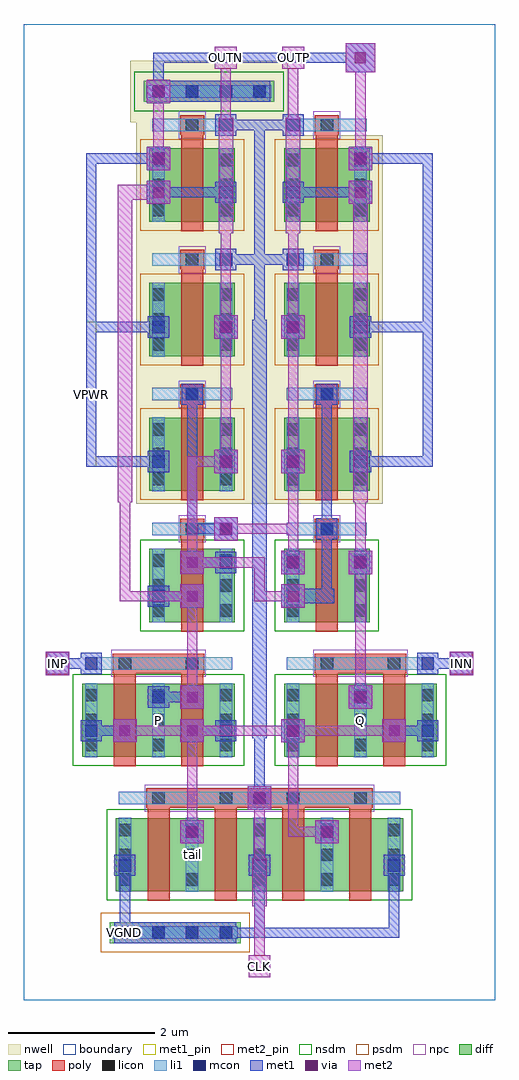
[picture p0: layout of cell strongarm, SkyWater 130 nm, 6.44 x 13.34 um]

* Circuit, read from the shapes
.subckt strongarm CLK INN INP OUTN OUTP P Q VGND VPWR tail
XM1 P INP tail VGND sky130_fd_pr__nfet_01v8 w=1 l=0.3 m=2
XM2 tail CLK VGND VGND sky130_fd_pr__nfet_01v8 w=1 l=0.3 m=4
XM3 OUTN OUTP P VGND sky130_fd_pr__nfet_01v8 w=1 l=0.3
XM4 Q INN tail VGND sky130_fd_pr__nfet_01v8 w=1 l=0.3 m=2
XM5 Q OUTN OUTP VGND sky130_fd_pr__nfet_01v8 w=1 l=0.3
XM6 OUTN OUTP VPWR VPWR sky130_fd_pr__pfet_01v8 w=1 l=0.3
XM7 OUTN CLK VPWR VPWR sky130_fd_pr__pfet_01v8 w=1 l=0.3
XM8 P CLK VPWR VPWR sky130_fd_pr__pfet_01v8 w=1 l=0.3
XM9 VPWR OUTN OUTP VPWR sky130_fd_pr__pfet_01v8 w=1 l=0.3
XM10 VPWR CLK OUTP VPWR sky130_fd_pr__pfet_01v8 w=1 l=0.3
XM11 VPWR CLK Q VPWR sky130_fd_pr__pfet_01v8 w=1 l=0.3
.ends

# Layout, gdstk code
import gdstk
lib = gdstk.Library(unit=1e-6, precision=1e-09)
def R(c, l, rs):  # rectangles x0, y0, x1, y1
    for r in rs: c.add(gdstk.rectangle(r[:2], r[2:], *l))
def A(c, l, x, y, w, h, nx, ny, dx, dy):  # array of equal rectangles
    R(c, l, [(x+i*dx, y+j*dy, x+i*dx+w, y+j*dy+h) for i in range(nx) for j in range(ny)])
nwell = (64, 20)
diff = (65, 20)
tap = (65, 44)
poly = (66, 20)
licon = (66, 44)
li1 = (67, 20)
mcon = (67, 44)
met1_pin = (68, 16)
met1 = (68, 20)
via = (68, 44)
met2_pin = (69, 16)
met2 = (69, 20)
nsdm = (93, 44)
psdm = (94, 20)
npc = (95, 20)
boundary = (235, 4)

strongarm = lib.new_cell('strongarm')
R(strongarm, nwell, [(1.535,6.78,4.905,11.82), (1.535,11.82,3.605,12), (1.455,12,3.605,12.84)])
A(strongarm, diff, 1.715, 6.96, 1.17, 1, 1, 3, 0, 1.84)
A(strongarm, diff, 3.555, 6.96, 1.17, 1, 1, 3, 0, 1.84)
R(strongarm, diff, [(1.255,1.485,5.185,2.485), (0.795,3.325,2.885,4.325), (3.555,3.325,5.645,4.325), (1.715,5.165,2.885,6.165), (3.555,5.165,4.725,6.165)])
R(strongarm, tap, [(1.175,0.775,2.965,1.065), (1.635,12.275,3.425,12.565)])
A(strongarm, poly, 1.69, 1.355, 0.3, 1.405, 4, 1, 0.92, 0)
A(strongarm, poly, 2.135, 6.305, 0.33, 0.27, 1, 4, 0, 1.84)
A(strongarm, poly, 3.975, 6.305, 0.33, 0.27, 1, 4, 0, 1.84)
A(strongarm, poly, 2.15, 6.83, 0.3, 1.45, 1, 3, 0, 1.84)
A(strongarm, poly, 3.99, 6.83, 0.3, 1.45, 1, 3, 0, 1.84)
R(strongarm, poly, [(1.675,2.625,4.765,2.895), (1.23,3.195,1.53,4.6), (2.15,3.195,2.45,4.6), (3.99,3.195,4.29,4.6), (4.91,3.195,5.21,4.6), (1.215,4.465,2.465,4.735), (3.975,4.465,5.225,4.735), (2.15,5.035,2.45,6.44), (3.99,5.035,4.29,6.44)])
A(strongarm, licon, 1.295, 0.835, 0.17, 0.17, 4, 1, 0.46, 0)
A(strongarm, licon, 1.295, 1.56, 0.17, 0.17, 5, 3, 0.92, 0.34)
A(strongarm, licon, 1.755, 2.675, 0.17, 0.17, 4, 2, 0.92, 2.565)
A(strongarm, licon, 0.835, 3.4, 0.17, 0.17, 6, 3, 0.92, 0.34)
A(strongarm, licon, 2.215, 4.515, 0.17, 0.17, 1, 5, 0, 1.84)
A(strongarm, licon, 4.055, 4.515, 0.17, 0.17, 1, 5, 0, 1.84)
A(strongarm, licon, 1.755, 5.58, 0.17, 0.17, 4, 2, 0.92, 0.34)
A(strongarm, licon, 1.755, 7.035, 0.17, 0.17, 4, 3, 0.92, 0.34)
A(strongarm, licon, 1.755, 8.875, 0.17, 0.17, 4, 3, 0.92, 0.34)
A(strongarm, licon, 1.755, 10.715, 0.17, 0.17, 4, 3, 0.92, 0.34)
A(strongarm, licon, 1.755, 12.335, 0.17, 0.17, 4, 1, 0.46, 0)
R(strongarm, licon, [(1.295,4.515,1.465,4.685), (4.975,4.515,5.145,4.685)])
A(strongarm, li1, 1.295, 1.48, 0.17, 1.01, 5, 1, 0.92, 0)
A(strongarm, li1, 0.835, 3.32, 0.17, 1.01, 6, 1, 0.92, 0)
A(strongarm, li1, 1.755, 5.16, 0.17, 1.01, 4, 2, 0.92, 1.795)
A(strongarm, li1, 1.755, 6.355, 1.09, 0.17, 1, 4, 0, 1.84)
A(strongarm, li1, 3.595, 6.355, 1.09, 0.17, 1, 4, 0, 1.84)
A(strongarm, li1, 1.755, 8.795, 0.17, 1.01, 4, 2, 0.92, 1.84)
R(strongarm, li1, [(1.215,0.835,2.925,1.005), (1.295,2.675,5.145,2.845), (0.835,4.515,2.845,4.685), (3.595,4.515,5.605,4.685), (1.675,12.335,3.385,12.505)])
A(strongarm, mcon, 1.295, 0.835, 0.17, 0.17, 4, 1, 0.46, 0)
A(strongarm, mcon, 1.295, 1.755, 0.17, 0.17, 3, 1, 1.84, 0)
A(strongarm, mcon, 2.675, 5.895, 0.17, 0.17, 3, 1, 0.92, 0)
A(strongarm, mcon, 1.755, 7.275, 0.17, 0.17, 4, 2, 0.92, 1.84)
A(strongarm, mcon, 2.675, 10.035, 0.17, 0.17, 1, 3, 0, 0.92)
A(strongarm, mcon, 3.595, 10.035, 0.17, 0.17, 1, 3, 0, 0.92)
A(strongarm, mcon, 1.755, 12.335, 0.17, 0.17, 4, 1, 0.46, 0)
R(strongarm, mcon, [(2.215,2.215,2.385,2.385), (4.055,2.215,4.225,2.385), (3.135,2.675,3.305,2.845), (0.835,3.595,1.005,3.765), (2.675,3.595,2.845,3.765), (3.595,3.595,3.765,3.765), (5.435,3.595,5.605,3.765), (1.755,4.055,1.925,4.225), (4.515,4.055,4.685,4.225), (0.835,4.515,1.005,4.685), (5.435,4.515,5.605,4.685), (1.755,5.435,1.925,5.605), (2.675,6.355,2.845,6.525), (4.055,6.355,4.225,6.525), (2.215,8.195,2.385,8.365), (4.055,8.195,4.225,8.365), (1.755,11.415,1.925,11.585), (4.515,11.415,4.685,11.585)])
R(strongarm, met1_pin, [(1.31,0.85,1.45,0.99), (0.85,7.29,0.99,9.27)])
A(strongarm, met1, 1.31, 0.85, 0.14, 1.06, 3, 1, 1.84, 0)
A(strongarm, met1, 1.235, 1.695, 0.29, 0.29, 3, 1, 1.84, 0)
A(strongarm, met1, 2.14, 3.52, 0.32, 0.32, 3, 1, 1.38, 0)
A(strongarm, met1, 2.615, 5.835, 0.29, 0.29, 3, 1, 0.92, 0)
A(strongarm, met1, 1.695, 7.215, 0.29, 0.29, 4, 2, 0.92, 1.84)
A(strongarm, met1, 2.615, 9.975, 0.29, 0.29, 1, 3, 0, 0.92)
A(strongarm, met1, 3.535, 9.975, 0.29, 0.29, 1, 3, 0, 0.92)
R(strongarm, met1, [(1.235,0.775,2.905,1.065), (1.31,0.85,3.29,0.99), (1.31,0.85,1.45,0.99), (3.15,0.85,5.13,0.99), (2.14,2.14,2.46,2.46), (3.98,2.14,4.3,2.46), (2.155,2.155,2.445,2.445), (3.995,2.155,4.285,2.445), (3.06,2.6,3.38,2.92), (3.075,2.615,3.365,2.905), (3.15,2.69,3.29,3.75), (1.22,3.52,1.54,3.84), (0.775,3.535,1.065,3.825), (2.615,3.535,2.905,3.825), (3.535,3.535,3.825,3.825), (5.375,3.535,5.665,3.825), (3.12,3.58,3.32,9.3), (0.85,3.61,1.45,3.75), (2.23,3.61,2.83,3.75), (4.99,3.61,5.59,3.75), (2.14,3.98,2.46,4.3), (4.44,3.98,4.76,4.3), (1.695,3.995,1.985,4.285), (4.455,3.995,4.745,4.285), (1.77,4.07,2.37,4.21), (0.3,4.44,0.62,4.76), (5.82,4.44,6.14,4.76), (0.775,4.455,1.065,4.745), (5.375,4.455,5.665,4.745), (0.39,4.53,0.99,4.67), (5.45,4.53,6.05,4.67), (2.14,5.36,2.46,5.68), (3.52,5.36,3.84,5.68), (1.695,5.375,1.985,5.665), (3.58,5.42,4.24,5.62), (1.77,5.45,2.37,5.59), (4.07,5.45,4.21,6.51), (2.14,5.82,2.46,6.14), (3.52,5.82,3.84,6.14), (4.44,5.82,4.76,6.14), (2.23,5.91,2.83,6.05), (2.6,6.28,2.92,6.6), (2.615,6.295,2.905,6.585), (3.995,6.295,4.285,6.585), (2.23,6.37,2.37,8.35), (2.23,6.37,2.83,6.51), (4.07,6.37,4.21,8.35), (2.6,7.2,2.92,7.52), (3.52,7.2,3.84,7.52), (0.85,7.29,1.91,7.43), (0.85,7.29,0.99,9.27), (4.53,7.29,5.59,7.43), (5.45,7.29,5.59,9.27), (2.155,8.135,2.445,8.425), (3.995,8.135,4.285,8.425), (2.6,9.04,2.92,9.36), (3.52,9.04,3.84,9.36), (0.85,9.13,1.91,9.27), (0.85,9.13,0.99,11.57), (3.15,9.13,3.29,10.19), (4.53,9.13,5.59,9.27), (5.45,9.13,5.59,11.57), (2.69,10.05,3.75,10.19), (3.15,10.05,3.29,12.03), (1.68,10.88,2,11.2), (4.44,10.88,4.76,11.2), (1.77,10.97,2.83,11.11), (3.61,10.97,4.67,11.11), (1.68,11.34,2,11.66), (4.44,11.34,4.76,11.66), (1.695,11.355,1.985,11.645), (4.455,11.355,4.745,11.645), (0.85,11.43,1.91,11.57), (4.53,11.43,5.59,11.57), (2.69,11.89,3.29,12.03), (3.15,11.89,3.75,12.03), (1.68,12.26,2,12.58), (1.695,12.275,3.365,12.565), (1.77,12.35,1.91,12.95), (1.77,12.35,1.91,12.49), (4.4,12.68,4.8,13.08), (1.77,12.81,4.67,12.95)])
A(strongarm, via, 2.225, 3.605, 0.15, 0.15, 3, 1, 1.38, 0)
R(strongarm, via, [(2.225,2.225,2.375,2.375), (4.065,2.225,4.215,2.375), (3.145,2.685,3.295,2.835), (1.305,3.605,1.455,3.755), (2.225,4.065,2.375,4.215), (4.525,4.065,4.675,4.215), (0.385,4.525,0.535,4.675), (5.905,4.525,6.055,4.675), (2.225,5.445,2.375,5.595), (3.605,5.445,3.755,5.595), (2.225,5.905,2.375,6.055), (3.605,5.905,3.755,6.055), (4.525,5.905,4.675,6.055), (2.685,6.365,2.835,6.515), (2.685,7.285,2.835,7.435), (3.605,7.285,3.755,7.435), (2.685,9.125,2.835,9.275), (3.605,9.125,3.755,9.275), (1.765,10.965,1.915,11.115), (4.525,10.965,4.675,11.115), (1.765,11.425,1.915,11.575), (4.525,11.425,4.675,11.575), (1.765,12.345,1.915,12.495), (4.525,12.805,4.675,12.955)])
R(strongarm, met2_pin, [(3.07,0.31,3.37,0.61), (0.31,4.45,0.61,4.75), (5.83,4.45,6.13,4.75), (2.61,12.73,2.91,13.03), (3.53,12.73,3.83,13.03)])
A(strongarm, met2, 2.23, 2.23, 0.14, 1.52, 1, 3, 0, 1.84)
A(strongarm, met2, 2.14, 3.52, 0.32, 0.32, 3, 1, 1.38, 0)
R(strongarm, met2, [(3.07,0.31,3.37,0.61), (3.15,0.39,3.29,0.53), (3.15,0.39,3.29,1.45), (3.12,1.28,3.32,1.94), (3.15,1.77,3.29,2.83), (2.14,2.14,2.46,2.46), (3.98,2.14,4.3,2.46), (3.61,2.23,3.75,3.75), (3.61,2.23,4.21,2.37), (3.06,2.6,3.38,2.92), (1.22,3.52,1.54,3.84), (1.31,3.61,2.37,3.75), (2.23,3.61,3.75,3.75), (3.61,3.61,5.13,3.75), (2.14,3.98,2.46,4.3), (4.44,3.98,4.76,4.3), (4.53,4.07,4.67,6.05), (0.3,4.44,0.62,4.76), (5.82,4.44,6.14,4.76), (0.31,4.45,0.61,4.75), (5.83,4.45,6.13,4.75), (0.39,4.53,0.53,4.67), (5.91,4.53,6.05,4.67), (2.14,5.36,2.46,5.68), (3.52,5.36,3.84,5.68), (1.31,5.45,1.45,6.97), (1.31,5.45,2.37,5.59), (3.15,5.45,3.75,5.59), (3.15,5.45,3.29,6.05), (2.14,5.82,2.46,6.14), (3.52,5.82,3.84,6.14), (4.44,5.82,4.76,6.14), (2.23,5.91,3.29,6.05), (3.61,5.91,3.75,7.43), (4.53,5.91,4.67,6.97), (2.6,6.28,2.92,6.6), (2.69,6.37,3.75,6.51), (1.28,6.8,1.48,11.14), (4.5,6.8,4.7,11.14), (2.6,7.2,2.92,7.52), (3.52,7.2,3.84,7.52), (2.23,7.29,2.83,7.43), (2.69,7.29,2.83,9.27), (3.61,7.29,3.75,9.27), (2.6,9.04,2.92,9.36), (3.52,9.04,3.84,9.36), (2.69,9.13,2.83,10.65), (3.61,9.13,3.75,10.65), (2.66,10.48,2.86,12.06), (3.58,10.48,3.78,12.06), (1.68,10.88,2,11.2), (4.44,10.88,4.76,11.2), (1.28,10.94,1.94,11.14), (1.68,11.34,2,11.66), (4.44,11.34,4.76,11.66), (1.77,11.43,1.91,12.49), (4.53,11.43,4.67,12.95), (2.69,11.89,2.83,12.95), (3.61,11.89,3.75,12.95), (1.68,12.26,2,12.58), (4.4,12.68,4.8,13.08), (2.61,12.73,2.91,13.03), (3.53,12.73,3.83,13.03), (2.69,12.81,2.83,12.95), (3.61,12.81,3.75,12.95)])
R(strongarm, nsdm, [(1.13,1.36,5.31,2.61), (0.67,3.2,3.01,4.45), (3.43,3.2,5.77,4.45), (1.59,5.04,3.01,6.29), (3.43,5.04,4.85,6.29), (1.51,12.15,3.55,12.69)])
A(strongarm, psdm, 1.59, 6.835, 1.42, 1.25, 1, 3, 0, 1.84)
A(strongarm, psdm, 3.43, 6.835, 1.42, 1.25, 1, 3, 0, 1.84)
R(strongarm, psdm, [(1.05,0.65,3.09,1.19)])
A(strongarm, npc, 2.115, 6.255, 0.37, 0.37, 1, 4, 0, 1.84)
A(strongarm, npc, 3.955, 6.255, 0.37, 0.37, 1, 4, 0, 1.84)
R(strongarm, npc, [(1.655,2.575,4.785,2.945), (1.195,4.415,2.485,4.785), (3.955,4.415,5.245,4.785)])
R(strongarm, boundary, [(0,0,6.44,13.34)])
strongarm.add(gdstk.Label('tail', (2.3,1.985), layer=67, texttype=5))
strongarm.add(gdstk.Label('P', (1.84,3.825), layer=67, texttype=5))
strongarm.add(gdstk.Label('Q', (4.6,3.825), layer=67, texttype=5))
strongarm.add(gdstk.Label('VPWR', (0.92,8.28), layer=68, texttype=5))
strongarm.add(gdstk.Label('VGND', (1.38,0.92), layer=68, texttype=5))
strongarm.add(gdstk.Label('CLK', (3.22,0.46), layer=69, texttype=5))
strongarm.add(gdstk.Label('INP', (0.46,4.6), layer=69, texttype=5))
strongarm.add(gdstk.Label('INN', (5.98,4.6), layer=69, texttype=5))
strongarm.add(gdstk.Label('OUTP', (3.68,12.88), layer=69, texttype=5))
strongarm.add(gdstk.Label('OUTN', (2.76,12.88), layer=69, texttype=5))
strongarm.add(gdstk.Label('VPWR', (0.92,8.28), layer=68, texttype=16))
strongarm.add(gdstk.Label('VGND', (1.38,0.92), layer=68, texttype=16))
strongarm.add(gdstk.Label('CLK', (3.22,0.46), layer=69, texttype=16))
strongarm.add(gdstk.Label('INP', (0.46,4.6), layer=69, texttype=16))
strongarm.add(gdstk.Label('INN', (5.98,4.6), layer=69, texttype=16))
strongarm.add(gdstk.Label('OUTP', (3.68,12.88), layer=69, texttype=16))
strongarm.add(gdstk.Label('OUTN', (2.76,12.88), layer=69, texttype=16))

lib.write_gds('strongarm.gds')
